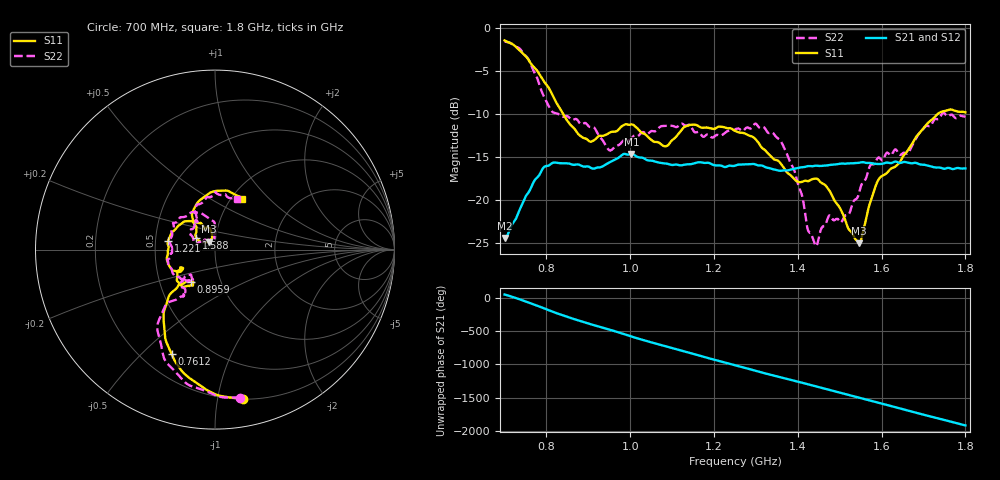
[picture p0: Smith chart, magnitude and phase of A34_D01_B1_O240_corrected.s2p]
! Created with skrf 1.9.0 (http://scikit-rf.org).
# Hz S RI R 50.0
!freq ReS11 ImS11 ReS21 ImS21 ReS12 ImS12 ReS22 ImS22
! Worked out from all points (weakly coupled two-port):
!   1601 points, 700 MHz to 1.8 GHz, reference 50 ohm
!   highest |S21| = -14.66 dB at 1.002 GHz (marker M1); lowest = -24.5 dB at 700.7 MHz (marker M2)
!   lowest |S11| = -25.1 dB at 1.546 GHz (marker M3), VSWR 1.12, Z = 46.6 + j4.21 ohm
!   |S11| at or under -10 dB: 839.5 MHz to 1.734 GHz (894.6 MHz wide, 69.5 % of centre)
!   |S22| runs from -25.4 to -1.5 dB; largest |S21 - S12| = 0.0037
!   S11 on the Smith chart (normalised r, x): 700 MHz: 0.20, -1.19; 761.2 MHz: 0.32, -0.62; 895.9 MHz: 0.72, -0.27; 1.221 GHz: 0.58, +0.06; 1.588 GHz: 0.81, +0.11; 1.8 GHz: 1.12, +0.71
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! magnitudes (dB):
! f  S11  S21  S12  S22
! 700 MHz  -1.4  -24.5  -24.3  -1.5
! 700.7 MHz  -1.5  -24.5  -24.2  -1.5
! 761.2 MHz  -4.0  -18.8  -18.7  -4.1
! 812.1 MHz  -7.6  -15.8  -15.8  -9.7
! 883.6 MHz  -12.7  -16.1  -16.0  -11.2
! 895.9 MHz  -12.9  -16.1  -16.2  -11.2
! 950.9 MHz  -12.2  -15.6  -15.6  -14.3
! 1.002 GHz  -11.2  -14.7  -14.8  -12.9
! 1.067 GHz  -13.3  -15.7  -15.6  -11.7
! 1.221 GHz  -11.5  -16.1  -16.2  -12.4
! 1.25 GHz  -12.0  -16.0  -16.0  -11.8
! 1.3 GHz  -13.0  -15.9  -15.9  -11.2
! 1.359 GHz  -15.8  -16.6  -16.6  -13.1
! 1.392 GHz  -17.7  -16.4  -16.4  -16.7
! 1.434 GHz  -17.6  -16.1  -16.1  -24.2
! 1.505 GHz  -21.4  -15.8  -15.8  -22.5
! 1.546 GHz  -25.1  -15.7  -15.7  -19.2
! 1.588 GHz  -18.2  -15.8  -15.8  -15.4
! 1.617 GHz  -16.6  -15.7  -15.7  -14.7
! 1.663 GHz  -14.3  -15.7  -15.7  -14.6
! 1.735 GHz  -10.0  -16.2  -16.3  -10.6
! 1.8 GHz  -9.8  -16.4  -16.4  -10.3
